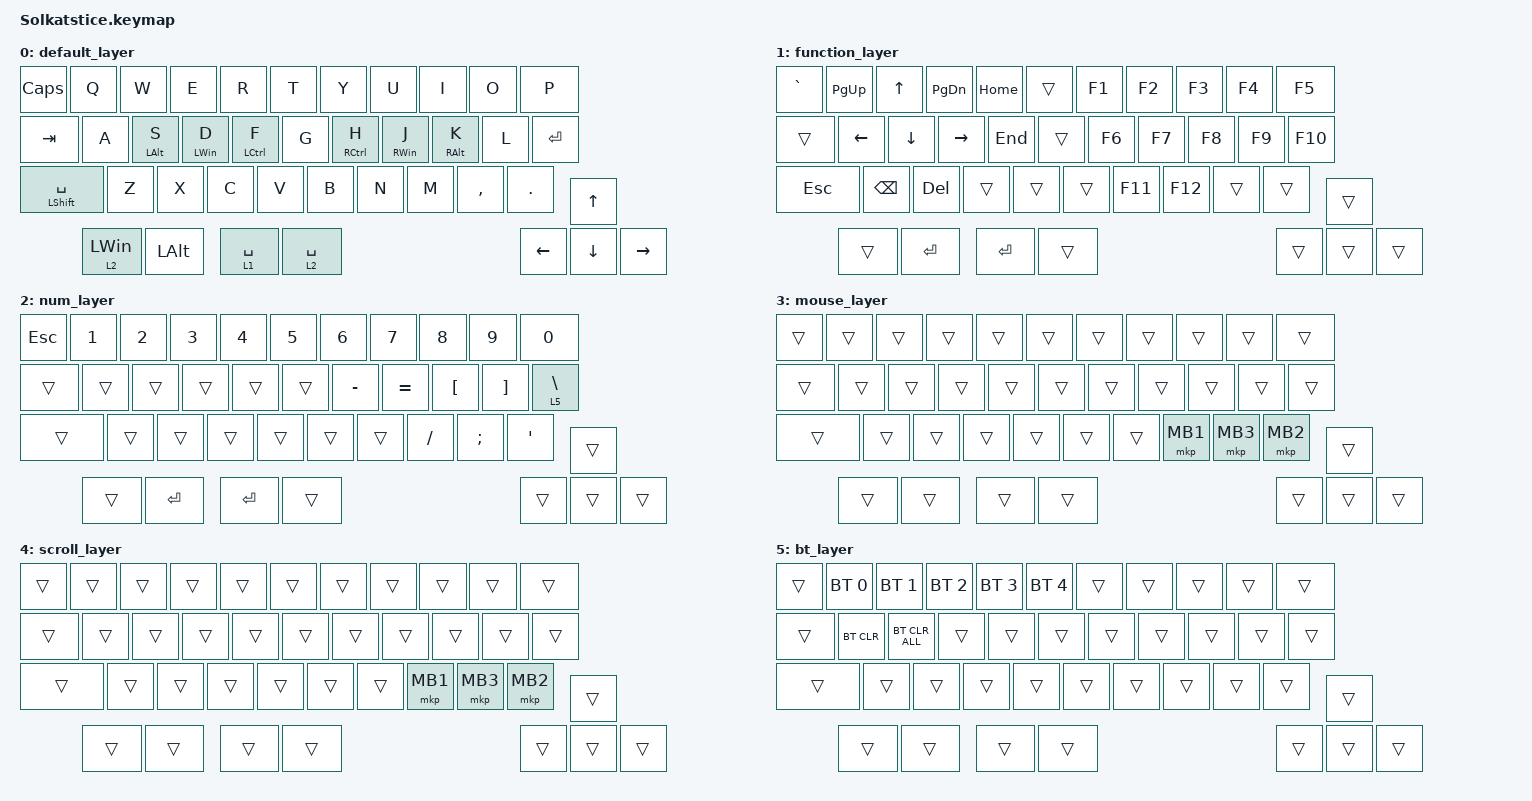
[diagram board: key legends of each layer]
#include <behaviors/rgbled_widget.dtsi>
#include <behaviors.dtsi>
#include <dt-bindings/zmk/bt.h>
#include <dt-bindings/zmk/keys.h>
#include <dt-bindings/zmk/pointing.h>

#define FUNCTION 1
#define NUM 2
#define MOUSE 3
#define SCROLL 4
#define BT 5

&mt {
   flavor = "tap-preferred";
   quick_tap_ms = <125>;
   tapping_term_ms = <250>;
};

/ {
    macros {
        mLCTL: mLCTL {
            compatible = "zmk,behavior-macro";
            #binding-cells = <0>;
            bindings = <&kp LCTL>;
        };
        mF13: mF13 {
            compatible = "zmk,behavior-macro";
            #binding-cells = <0>;
            bindings = <&kp F13>;
        };
        mF14: mF14 {
            compatible = "zmk,behavior-macro";
            #binding-cells = <0>;
            bindings = <&kp F14>;
        };
        mF15: mF15 {
            compatible = "zmk,behavior-macro";
            #binding-cells = <0>;
            bindings = <&kp F15>;
        };
        mF16: mF16 {
            compatible = "zmk,behavior-macro";
            #binding-cells = <0>;
            bindings = <&kp F16>;
        };
        mF17: mF17 {
            compatible = "zmk,behavior-macro";
            #binding-cells = <0>;
            bindings = <&kp F17>;
        };
        mF18: mF18 {
            compatible = "zmk,behavior-macro";
            #binding-cells = <0>;
            bindings = <&kp F18>;
        };
    };

    behaviors {
        leader1: leader1 {
            compatible = "zmk,behavior-leader-key";
            #binding-cells = <0>;
            leftdown { sequence = <F13 F14 F15>; bindings = <&kp PG_UP>; };
            leftup   { sequence = <F15 F14 F13>; bindings = <&kp PG_DN>; };
            rightdown { sequence = <F16 F17 F18>; bindings = <&kp HOME>; };
            rightup   { sequence = <F18 F17 F16>; bindings = <&kp END>; };
        };
    }; 
}; 
 
/ {
    aliases {
        led-red = &led0;
        led-green = &led1;
        led-blue = &led2;
    };

    leds {
        compatible = "gpio-leds";
        status = "okay";
        led0: led_0 {
            gpios = <&gpio0 26 GPIO_ACTIVE_LOW>;  // red LED, connected to P0.26
        };
        led1: led_1 {
            gpios = <&gpio0 30 GPIO_ACTIVE_LOW>;  // green LED, connected to P0.30
        };
        led2: led_2 {
            gpios = <&gpio0 6 GPIO_ACTIVE_LOW>;  // blue LED, connected to P0.06
        };
    };
};

/ {
    keymap {
        compatible = "zmk,keymap";

        default_layer {
            bindings = <
&kp CAPS         &kp Q            &kp W            &kp E            &kp R            &kp T            &kp Y            &kp U            &kp I            &kp O            &kp P  
&kp TAB          &kp A            &mt LEFT_ALT S   &mt LEFT_WIN D   &mt LCTRL F      &kp G            &mt RCTRL H      &mt RIGHT_WIN J  &mt RIGHT_ALT K  &kp L            &kp ENTER  
&mt LSHFT SPACE  &kp Z            &kp X            &kp C            &kp V            &kp B            &kp N            &kp M            &kp COMMA        &kp DOT          &kp UP  
                 &lt 2 LWIN       &kp LALT         &lt 1 SPACE      &lt 2 SPACE                                                         &kp LEFT         &kp DOWN         &kp RIGHT
            >;
        };

        function_layer {
            bindings = <
&kp GRAVE        &kp PG_UP        &kp UP           &kp PG_DN        &kp HOME         &trans           &kp F1           &kp F2           &kp F3           &kp F4            &kp F5  
&trans           &kp LEFT         &kp DOWN         &kp RIGHT        &kp END          &trans           &kp F6           &kp F7           &kp F8           &kp F9            &kp F10  
&kp ESCAPE       &kp BACKSPACE    &kp DEL          &trans           &trans           &trans           &kp F11          &kp F12          &trans           &trans            &trans  
                 &trans           &kp ENTER        &kp ENTER        &trans                                                              &trans           &trans            &trans
            >;
        };

        num_layer {
            bindings = <
&kp ESC           &kp N1          &kp N2           &kp N3           &kp N4           &kp N5           &kp N6           &kp N7           &kp N8           &kp N9            &kp N0  
&trans            &trans          &trans           &trans           &trans           &trans           &kp MINUS        &kp EQUAL        &kp LBKT         &kp RBKT          &lt 5 BSLH  
&trans            &trans          &trans           &trans           &trans           &trans           &trans           &kp FSLH         &kp SEMI         &kp SQT           &trans  
                  &trans          &kp ENTER        &kp ENTER        &trans                                                              &trans           &trans            &trans
            >;
        };

        mouse_layer {
            bindings = <
&trans           &trans           &trans           &trans           &trans           &trans           &trans           &trans           &trans           &trans           &trans  
&trans           &trans           &trans           &trans           &trans           &trans           &trans           &trans           &trans           &trans           &trans  
&trans           &trans           &trans           &trans           &trans           &trans           &trans           &mkp MB1         &mkp MB3         &mkp MB2         &trans  
                 &trans           &trans           &trans           &trans                                                              &trans           &trans           &trans
            >;
        };

        scroll_layer {
            bindings = <
&trans           &trans           &trans           &trans           &trans           &trans           &trans           &trans           &trans           &trans           &trans  
&trans           &trans           &trans           &trans           &trans           &trans           &trans           &trans           &trans           &trans           &trans  
&trans           &trans           &trans           &trans           &trans           &trans           &trans           &mkp MB1         &mkp MB3         &mkp MB2         &trans  
                 &trans           &trans           &trans           &trans                                                              &trans           &trans           &trans
            >;
        };

        bt_layer {
            bindings = <
&trans           &bt BT_SEL 0     &bt BT_SEL 1     &bt BT_SEL 2     &bt BT_SEL 3     &bt BT_SEL 4     &trans           &trans           &trans           &trans           &trans  
&trans           &bt BT_CLR       &bt BT_CLR_ALL   &trans           &trans           &trans           &trans           &trans           &trans           &trans           &trans  
&trans           &trans           &trans           &trans           &trans           &trans           &trans           &trans           &trans           &trans           &trans  
                 &trans           &trans           &trans           &trans                                                              &trans           &trans           &trans
            >;
        };
    };
};
